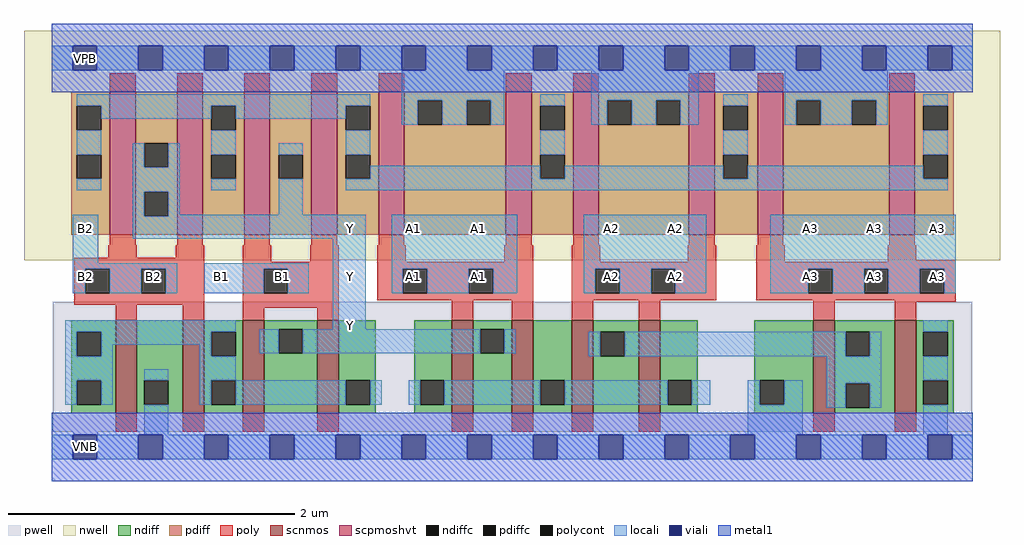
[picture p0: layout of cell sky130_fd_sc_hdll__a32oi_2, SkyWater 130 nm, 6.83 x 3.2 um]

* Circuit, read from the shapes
.subckt sky130_fd_sc_hdll__a32oi_2 A1 A2 A3 B1 B2 VGND VNB VPB VPWR Y
XM1 VGND B2 n1 VNB sky130_fd_pr__nfet_01v8 w=0.65 l=0.15 m=2
XM2 Y B1 n1 VNB sky130_fd_pr__nfet_01v8 w=0.65 l=0.15 m=2
XM3 Y A1 n2 VNB sky130_fd_pr__nfet_01v8 w=0.65 l=0.15 m=2
XM4 n3 A2 n2 VNB sky130_fd_pr__nfet_01v8 w=0.65 l=0.15 m=2
XM5 n3 A3 VGND VNB sky130_fd_pr__nfet_01v8 w=0.65 l=0.15 m=2
XM6 Y B2 n4 VPB sky130_fd_pr__pfet_01v8_hvt w=1 l=0.18 m=2
XM7 Y B1 n4 VPB sky130_fd_pr__pfet_01v8_hvt w=1 l=0.18 m=2
XM8 VPWR A1 n4 VPB sky130_fd_pr__pfet_01v8_hvt w=1 l=0.18 m=2
XM9 VPWR A2 n4 VPB sky130_fd_pr__pfet_01v8_hvt w=1 l=0.18 m=2
XM10 VPWR A3 n4 VPB sky130_fd_pr__pfet_01v8_hvt w=1 l=0.18 m=2
.ends

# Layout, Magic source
magic
tech sky130A
magscale 1 2
<< nwell >>
rect -39 261 1326 582
<< pwell >>
rect 1 21 1287 203
rect 30 -17 64 21
<< scnmos >>
rect 89 47 119 177
rect 183 47 213 177
rect 267 47 297 177
rect 371 47 401 177
rect 559 47 589 177
rect 643 47 673 177
rect 727 47 757 177
rect 821 47 851 177
rect 1065 47 1095 177
rect 1179 47 1209 177
<< scpmoshvt >>
rect 81 297 117 497
rect 175 297 211 497
rect 269 297 305 497
rect 363 297 399 497
rect 457 297 493 497
rect 635 297 671 497
rect 729 297 765 497
rect 891 297 927 497
rect 987 297 1023 497
rect 1171 297 1207 497
<< ndiff >>
rect 27 161 89 177
rect 27 127 35 161
rect 69 127 89 161
rect 27 93 89 127
rect 27 59 35 93
rect 69 59 89 93
rect 27 47 89 59
rect 119 93 183 177
rect 119 59 129 93
rect 163 59 183 93
rect 119 47 183 59
rect 213 161 267 177
rect 213 127 223 161
rect 257 127 267 161
rect 213 93 267 127
rect 213 59 223 93
rect 257 59 267 93
rect 213 47 267 59
rect 297 165 371 177
rect 297 131 317 165
rect 351 131 371 165
rect 297 47 371 131
rect 401 93 453 177
rect 401 59 411 93
rect 445 59 453 93
rect 401 47 453 59
rect 507 93 559 177
rect 507 59 515 93
rect 549 59 559 93
rect 507 47 559 59
rect 589 165 643 177
rect 589 131 599 165
rect 633 131 643 165
rect 589 47 643 131
rect 673 93 727 177
rect 673 59 683 93
rect 717 59 727 93
rect 673 47 727 59
rect 757 161 821 177
rect 757 127 767 161
rect 801 127 821 161
rect 757 47 821 127
rect 851 93 903 177
rect 851 59 861 93
rect 895 59 903 93
rect 851 47 903 59
rect 982 93 1065 177
rect 982 59 990 93
rect 1024 59 1065 93
rect 982 47 1065 59
rect 1095 161 1179 177
rect 1095 127 1110 161
rect 1144 127 1179 161
rect 1095 89 1179 127
rect 1095 55 1110 89
rect 1144 55 1179 89
rect 1095 47 1179 55
rect 1209 161 1261 177
rect 1209 127 1219 161
rect 1253 127 1261 161
rect 1209 93 1261 127
rect 1209 59 1219 93
rect 1253 59 1261 93
rect 1209 47 1261 59
<< pdiff >>
rect 27 477 81 497
rect 27 443 35 477
rect 69 443 81 477
rect 27 409 81 443
rect 27 375 35 409
rect 69 375 81 409
rect 27 297 81 375
rect 117 425 175 497
rect 117 391 129 425
rect 163 391 175 425
rect 117 357 175 391
rect 117 323 129 357
rect 163 323 175 357
rect 117 297 175 323
rect 211 477 269 497
rect 211 443 223 477
rect 257 443 269 477
rect 211 409 269 443
rect 211 375 223 409
rect 257 375 269 409
rect 211 297 269 375
rect 305 409 363 497
rect 305 375 317 409
rect 351 375 363 409
rect 305 297 363 375
rect 399 477 457 497
rect 399 443 411 477
rect 445 443 457 477
rect 399 409 457 443
rect 399 375 411 409
rect 445 375 457 409
rect 399 297 457 375
rect 493 485 635 497
rect 493 451 512 485
rect 546 451 580 485
rect 614 451 635 485
rect 493 297 635 451
rect 671 477 729 497
rect 671 443 683 477
rect 717 443 729 477
rect 671 409 729 443
rect 671 375 683 409
rect 717 375 729 409
rect 671 297 729 375
rect 765 485 891 497
rect 765 451 777 485
rect 811 451 845 485
rect 879 451 891 485
rect 765 297 891 451
rect 927 477 987 497
rect 927 443 939 477
rect 973 443 987 477
rect 927 409 987 443
rect 927 375 939 409
rect 973 375 987 409
rect 927 297 987 375
rect 1023 485 1171 497
rect 1023 451 1041 485
rect 1075 451 1119 485
rect 1153 451 1171 485
rect 1023 297 1171 451
rect 1207 477 1261 497
rect 1207 443 1219 477
rect 1253 443 1261 477
rect 1207 409 1261 443
rect 1207 375 1219 409
rect 1253 375 1261 409
rect 1207 297 1261 375
<< ndiffc >>
rect 35 127 69 161
rect 35 59 69 93
rect 129 59 163 93
rect 223 127 257 161
rect 223 59 257 93
rect 317 131 351 165
rect 411 59 445 93
rect 515 59 549 93
rect 599 131 633 165
rect 683 59 717 93
rect 767 127 801 161
rect 861 59 895 93
rect 990 59 1024 93
rect 1110 127 1144 161
rect 1110 55 1144 89
rect 1219 127 1253 161
rect 1219 59 1253 93
<< pdiffc >>
rect 35 443 69 477
rect 35 375 69 409
rect 129 391 163 425
rect 129 323 163 357
rect 223 443 257 477
rect 223 375 257 409
rect 317 375 351 409
rect 411 443 445 477
rect 411 375 445 409
rect 512 451 546 485
rect 580 451 614 485
rect 683 443 717 477
rect 683 375 717 409
rect 777 451 811 485
rect 845 451 879 485
rect 939 443 973 477
rect 939 375 973 409
rect 1041 451 1075 485
rect 1119 451 1153 485
rect 1219 443 1253 477
rect 1219 375 1253 409
<< poly >>
rect 81 497 117 523
rect 175 497 211 523
rect 269 497 305 523
rect 363 497 399 523
rect 457 497 493 523
rect 635 497 671 523
rect 729 497 765 523
rect 891 497 927 523
rect 987 497 1023 523
rect 1171 497 1207 523
rect 81 282 117 297
rect 175 282 211 297
rect 269 282 305 297
rect 363 282 399 297
rect 457 282 493 297
rect 635 282 671 297
rect 729 282 765 297
rect 891 282 927 297
rect 987 282 1023 297
rect 1171 282 1207 297
rect 79 265 119 282
rect 173 265 213 282
rect 31 249 213 265
rect 31 215 47 249
rect 81 215 125 249
rect 159 215 213 249
rect 31 199 213 215
rect 89 177 119 199
rect 183 177 213 199
rect 267 259 307 282
rect 361 259 401 282
rect 267 249 401 259
rect 267 215 296 249
rect 330 215 401 249
rect 267 195 401 215
rect 455 259 495 282
rect 633 259 673 282
rect 455 249 673 259
rect 455 215 491 249
rect 525 215 583 249
rect 617 215 673 249
rect 455 205 673 215
rect 267 177 297 195
rect 371 177 401 195
rect 559 177 589 205
rect 643 177 673 205
rect 727 259 767 282
rect 889 259 929 282
rect 727 249 929 259
rect 727 215 760 249
rect 794 215 838 249
rect 872 215 929 249
rect 727 205 929 215
rect 985 259 1025 282
rect 1169 261 1209 282
rect 1169 259 1264 261
rect 985 249 1264 259
rect 985 215 1058 249
rect 1092 215 1136 249
rect 1170 215 1214 249
rect 1248 215 1264 249
rect 985 205 1264 215
rect 727 177 757 205
rect 821 177 851 205
rect 1065 177 1095 205
rect 1179 203 1264 205
rect 1179 177 1209 203
rect 89 21 119 47
rect 183 21 213 47
rect 267 21 297 47
rect 371 21 401 47
rect 559 21 589 47
rect 643 21 673 47
rect 727 21 757 47
rect 821 21 851 47
rect 1065 21 1095 47
rect 1179 21 1209 47
<< polycont >>
rect 47 215 81 249
rect 125 215 159 249
rect 296 215 330 249
rect 491 215 525 249
rect 583 215 617 249
rect 760 215 794 249
rect 838 215 872 249
rect 1058 215 1092 249
rect 1136 215 1170 249
rect 1214 215 1248 249
<< locali >>
rect 0 527 29 561
rect 63 527 121 561
rect 155 527 213 561
rect 247 527 305 561
rect 339 527 397 561
rect 431 527 489 561
rect 523 527 581 561
rect 615 527 673 561
rect 707 527 765 561
rect 799 527 857 561
rect 891 527 949 561
rect 983 527 1041 561
rect 1075 527 1133 561
rect 1167 527 1225 561
rect 1259 527 1288 561
rect 35 477 445 493
rect 69 459 223 477
rect 35 409 69 443
rect 257 459 411 477
rect 35 359 69 375
rect 113 391 129 425
rect 163 391 179 425
rect 113 357 179 391
rect 223 409 257 443
rect 489 485 633 527
rect 489 451 512 485
rect 546 451 580 485
rect 614 451 633 485
rect 683 477 717 493
rect 223 359 257 375
rect 317 409 351 425
rect 29 257 65 325
rect 113 323 129 357
rect 163 325 179 357
rect 317 325 351 375
rect 411 409 445 443
rect 754 485 905 527
rect 754 451 777 485
rect 811 451 845 485
rect 879 451 905 485
rect 939 477 973 493
rect 683 409 717 443
rect 445 375 683 393
rect 1025 485 1169 527
rect 1025 451 1041 485
rect 1075 451 1119 485
rect 1153 451 1169 485
rect 1219 477 1253 493
rect 939 409 973 443
rect 717 375 939 393
rect 1219 409 1253 443
rect 973 375 1219 393
rect 411 359 1253 375
rect 163 323 439 325
rect 113 291 439 323
rect 29 249 175 257
rect 29 215 47 249
rect 81 215 125 249
rect 159 215 175 249
rect 213 249 359 257
rect 213 215 296 249
rect 330 215 359 249
rect 19 161 257 177
rect 393 165 439 291
rect 475 249 651 325
rect 475 215 491 249
rect 525 215 583 249
rect 617 215 651 249
rect 744 249 915 325
rect 744 215 760 249
rect 794 215 838 249
rect 872 215 915 249
rect 1005 249 1264 325
rect 1005 215 1058 249
rect 1092 215 1136 249
rect 1170 215 1214 249
rect 1248 215 1264 249
rect 19 127 35 161
rect 69 143 223 161
rect 69 127 85 143
rect 19 93 85 127
rect 207 127 223 143
rect 291 131 317 165
rect 351 131 599 165
rect 633 131 649 165
rect 1219 161 1253 177
rect 751 127 767 161
rect 801 127 1110 161
rect 1144 127 1160 161
rect 19 59 35 93
rect 69 59 85 93
rect 129 93 163 109
rect 207 93 257 127
rect 207 59 223 93
rect 257 59 411 93
rect 445 59 461 93
rect 499 59 515 93
rect 549 59 683 93
rect 717 59 861 93
rect 895 59 921 93
rect 973 59 990 93
rect 1024 59 1050 93
rect 129 17 163 59
rect 973 17 1050 59
rect 1084 89 1160 127
rect 1084 55 1110 89
rect 1144 55 1160 89
rect 1219 93 1253 127
rect 1219 17 1253 59
rect 0 -17 29 17
rect 63 -17 121 17
rect 155 -17 213 17
rect 247 -17 305 17
rect 339 -17 397 17
rect 431 -17 489 17
rect 523 -17 581 17
rect 615 -17 673 17
rect 707 -17 765 17
rect 799 -17 857 17
rect 891 -17 949 17
rect 983 -17 1041 17
rect 1075 -17 1133 17
rect 1167 -17 1225 17
rect 1259 -17 1288 17
<< viali >>
rect 29 527 63 561
rect 121 527 155 561
rect 213 527 247 561
rect 305 527 339 561
rect 397 527 431 561
rect 489 527 523 561
rect 581 527 615 561
rect 673 527 707 561
rect 765 527 799 561
rect 857 527 891 561
rect 949 527 983 561
rect 1041 527 1075 561
rect 1133 527 1167 561
rect 1225 527 1259 561
rect 29 -17 63 17
rect 121 -17 155 17
rect 213 -17 247 17
rect 305 -17 339 17
rect 397 -17 431 17
rect 489 -17 523 17
rect 581 -17 615 17
rect 673 -17 707 17
rect 765 -17 799 17
rect 857 -17 891 17
rect 949 -17 983 17
rect 1041 -17 1075 17
rect 1133 -17 1167 17
rect 1225 -17 1259 17
<< metal1 >>
rect 0 561 1288 592
rect 0 527 29 561
rect 63 527 121 561
rect 155 527 213 561
rect 247 527 305 561
rect 339 527 397 561
rect 431 527 489 561
rect 523 527 581 561
rect 615 527 673 561
rect 707 527 765 561
rect 799 527 857 561
rect 891 527 949 561
rect 983 527 1041 561
rect 1075 527 1133 561
rect 1167 527 1225 561
rect 1259 527 1288 561
rect 0 496 1288 527
rect 0 17 1288 48
rect 0 -17 29 17
rect 63 -17 121 17
rect 155 -17 213 17
rect 247 -17 305 17
rect 339 -17 397 17
rect 431 -17 489 17
rect 523 -17 581 17
rect 615 -17 673 17
rect 707 -17 765 17
rect 799 -17 857 17
rect 891 -17 949 17
rect 983 -17 1041 17
rect 1075 -17 1133 17
rect 1167 -17 1225 17
rect 1259 -17 1288 17
rect 0 -48 1288 -17
<< labels >>
flabel locali s 855 289 889 323 0 FreeSans 200 0 0 0 A2
port 2 nsew signal input
flabel locali s 855 221 889 255 0 FreeSans 200 0 0 0 A2
port 2 nsew signal input
flabel locali s 125 221 159 255 0 FreeSans 200 0 0 0 B2
port 5 nsew signal input
flabel locali s 1044 221 1078 255 0 FreeSans 200 0 0 0 A3
port 3 nsew signal input
flabel locali s 1044 289 1078 323 0 FreeSans 200 0 0 0 A3
port 3 nsew signal input
flabel locali s 1133 221 1167 255 0 FreeSans 200 0 0 0 A3
port 3 nsew signal input
flabel locali s 1134 289 1168 323 0 FreeSans 200 0 0 0 A3
port 3 nsew signal input
flabel locali s 765 221 799 255 0 FreeSans 200 0 0 0 A2
port 2 nsew signal input
flabel locali s 765 289 799 323 0 FreeSans 200 0 0 0 A2
port 2 nsew signal input
flabel locali s 489 221 523 255 0 FreeSans 200 0 0 0 A1
port 1 nsew signal input
flabel locali s 580 289 614 323 0 FreeSans 200 0 0 0 A1
port 1 nsew signal input
flabel locali s 489 289 523 323 0 FreeSans 200 0 0 0 A1
port 1 nsew signal input
flabel locali s 401 289 435 323 0 FreeSans 200 0 0 0 Y
port 10 nsew signal output
flabel locali s 580 221 614 255 0 FreeSans 200 0 0 0 A1
port 1 nsew signal input
flabel locali s 220 221 254 255 0 FreeSans 200 0 0 0 B1
port 4 nsew signal input
flabel locali s 401 153 435 187 0 FreeSans 200 0 0 0 Y
port 10 nsew signal output
flabel locali s 30 289 64 323 0 FreeSans 200 0 0 0 B2
port 5 nsew signal input
flabel locali s 401 221 435 255 0 FreeSans 200 0 0 0 Y
port 10 nsew signal output
flabel locali s 306 221 340 255 0 FreeSans 200 0 0 0 B1
port 4 nsew signal input
flabel locali s 30 221 64 255 0 FreeSans 200 0 0 0 B2
port 5 nsew signal input
flabel locali s 1221 289 1255 323 0 FreeSans 200 0 0 0 A3
port 3 nsew signal input
flabel locali s 1222 221 1256 255 0 FreeSans 200 0 0 0 A3
port 3 nsew signal input
flabel pwell s 30 -17 64 17 0 FreeSans 200 0 0 0 VNB
port 7 nsew ground bidirectional
flabel nwell s 30 527 64 561 0 FreeSans 200 0 0 0 VPB
port 8 nsew power bidirectional
flabel metal1 s 30 -17 64 17 0 FreeSans 200 0 0 0 VGND
port 6 nsew ground bidirectional
flabel metal1 s 30 527 64 561 0 FreeSans 200 0 0 0 VPWR
port 9 nsew power bidirectional
rlabel comment s 0 0 0 0 4 a32oi_2
<< properties >>
string LEFsite unithd
string LEFclass CORE
string FIXED_BBOX 0 0 1288 544
string GDS_FILE $PDKPATH/libs.ref/sky130_fd_sc_hdll/gds/sky130_fd_sc_hdll.gds
string LEFsymmetry X Y R90
string GDS_END 315800
string GDS_START 304374
string LEFproperties maskLayoutSubType "abstract" prCellType "standard" originalViewName "layout"
<< end >>
